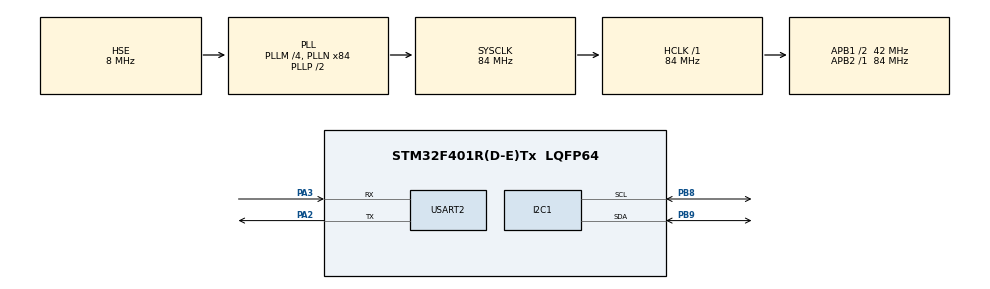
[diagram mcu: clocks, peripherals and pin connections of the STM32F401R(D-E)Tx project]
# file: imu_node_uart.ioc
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FREERTOS.Tasks01=defaultTask,0,128,StartDefaultTask,Default,NULL,Dynamic,NULL,NULL
I2C1.I2C_Mode=I2C_Fast
Mcu.Family=STM32F4
Mcu.Name=STM32F401R(D-E)Tx
Mcu.Package=LQFP64
NVIC.PriorityGroup=NVIC_PRIORITYGROUP_4
NVIC.TIM1_UP_TIM10_IRQn=true\:15\:0\:false\:false\:true\:false\:false\:true\:true
NVIC.TimeBase=TIM1_UP_TIM10_IRQn
NVIC.TimeBaseIP=TIM1
PA2.Mode=Asynchronous
PA2.Signal=USART2_TX
PA3.Mode=Asynchronous
PA3.Signal=USART2_RX
PB8.Mode=I2C
PB8.Signal=I2C1_SCL
PB9.Mode=I2C
PB9.Signal=I2C1_SDA
PC14-OSC32_IN.Mode=LSE-External-Oscillator
PC14-OSC32_IN.Signal=RCC_OSC32_IN
PC15-OSC32_OUT.Mode=LSE-External-Oscillator
PC15-OSC32_OUT.Signal=RCC_OSC32_OUT
PH0\ -\ OSC_IN.Mode=HSE-External-Oscillator
PH0\ -\ OSC_IN.Signal=RCC_OSC_IN
PH1\ -\ OSC_OUT.Mode=HSE-External-Oscillator
PH1\ -\ OSC_OUT.Signal=RCC_OSC_OUT
ProjectManager.HeapSize=0x200
ProjectManager.StackSize=0x400
ProjectManager.TargetToolchain=STM32CubeIDE
RCC.48MHZClocksFreq_Value=42000000
RCC.AHBFreq_Value=84000000
RCC.APB1CLKDivider=RCC_HCLK_DIV2
RCC.APB1Freq_Value=42000000
RCC.APB1TimFreq_Value=84000000
RCC.APB2Freq_Value=84000000
RCC.APB2TimFreq_Value=84000000
RCC.CortexFreq_Value=84000000
RCC.HCLKFreq_Value=84000000
RCC.HSE_VALUE=8000000
RCC.HSI_VALUE=16000000
RCC.PLLM=4
RCC.PLLN=84
RCC.PLLSourceVirtual=RCC_PLLSOURCE_HSE
RCC.SYSCLKFreq_VALUE=84000000
RCC.SYSCLKSource=RCC_SYSCLKSOURCE_PLLCLK
RCC.VCOOutputFreq_Value=168000000
USART2.VirtualMode=VM_ASYNC
VP_FREERTOS_VS_CMSIS_V1.Mode=CMSIS_V1
VP_SYS_VS_tim1.Mode=TIM1
board=custom

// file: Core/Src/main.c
/* USER CODE BEGIN Header */
/**
  ******************************************************************************
  * @file           : main.c
  * @brief          : Main program body
  ******************************************************************************
  * @attention
  *
  * Copyright (c) 2026 STMicroelectronics.
  * All rights reserved.
  *
  * This software is licensed under terms that can be found in the LICENSE file
  * in the root directory of this software component.
  * If no LICENSE file comes with this software, it is provided AS-IS.
  *
  ******************************************************************************
  */
/* USER CODE END Header */
#include "main.h"
#include <stdio.h>
/* USER CODE BEGIN Includes */
#include "lsm6ds33.h"
#include "FreeRTOS.h"
#include "task.h"
#include "timers.h"
#include "queue.h"
#include "semphr.h"
#include "event_groups.h"
/* USER CODE END Includes */

I2C_HandleTypeDef hi2c1;

UART_HandleTypeDef huart2;

/* USER CODE BEGIN PV */
QueueHandle_t imuQueueHandle;

typedef struct {
	uint32_t	timestamp_ms;
	float		ax, ay, az;
	float		gx, gy, gz;
} imu_packet_t;

int __io_putchar(int ch){

	HAL_UART_Transmit(&huart2, (uint8_t *) &ch, 1, HAL_MAX_DELAY);
	return ch;
}
/* USER CODE END PV */

void SystemClock_Config(void);
static void MX_GPIO_Init(void);
static void MX_I2C1_Init(void);
static void MX_USART2_UART_Init(void);

void imu_task(void * pvParameters);
void wifi_task(void *pvParameters);

int main(void)
{

  /* MCU Configuration--------------------------------------------------------*/

  /* Reset of all peripherals, Initializes the Flash interface and the Systick. */
  HAL_Init();

  /* Configure the system clock */
  SystemClock_Config();

  /* Initialize all configured peripherals */
  MX_GPIO_Init();
  MX_I2C1_Init();
  MX_USART2_UART_Init();

  /* USER CODE BEGIN RTOS_QUEUES */
  imuQueueHandle = xQueueCreate(1, sizeof(imu_packet_t));
  /* USER CODE END RTOS_QUEUES */

  /* Create the thread(s) */
  xTaskCreate(imu_task, "vIMUTask", 512, NULL, 2, NULL );
  xTaskCreate(wifi_task, "vWifiTask", 1024, NULL, 1, NULL); // more stack size for WiFi driver

  /* Start scheduler */
  vTaskStartScheduler();

  /* We should never get here as control is now taken by the scheduler */

  /* Infinite loop */
  while (1)
  {
	  __WFI();
  }
}
void imu_task(void * pvParameters)
{
	LSM6DS33_Data imu;
    imu_packet_t pkt;

	if(LSM6DS33_Init(&hi2c1) != LSM6DS33_OK){
		printf("Error: IMU init failed\r\n");
		vTaskDelete(NULL);
	}

	for( ;; )
	 {
		 if(LSM6DS33_ReadData(&hi2c1, &imu) == LSM6DS33_OK){
			 pkt.timestamp_ms	= HAL_GetTick();
			 pkt.ax = imu.ax; pkt.ay = imu.ay; pkt.az = imu.az;
			 pkt.gx = imu.gx; pkt.gy = imu.gy; pkt.gz = imu.gz;

			 xQueueOverwrite(imuQueueHandle, &pkt);
		 }

	        vTaskDelay(pdMS_TO_TICKS(20));  /* 50 Hz */
	 }
}
void wifi_task(void *pvParameters)
{
    imu_packet_t pkt;
    // TODO WiFi connect logic Wifi init, wifi connect, socket ..

    for (;;) {
        if (xQueueReceive(imuQueueHandle, &pkt, portMAX_DELAY) == pdPASS) {
//            WIFI_SendData(socket_id, (uint8_t*)&pkt, sizeof(pkt), &sent_len, timeout); // TODO choose the right data format
        }
    }
}
void SystemClock_Config(void)
{
  RCC_OscInitTypeDef RCC_OscInitStruct = {0};
  RCC_ClkInitTypeDef RCC_ClkInitStruct = {0};

  /** Configure the main internal regulator output voltage
  */
  __HAL_RCC_PWR_CLK_ENABLE();
  __HAL_PWR_VOLTAGESCALING_CONFIG(PWR_REGULATOR_VOLTAGE_SCALE2);

  /** Initializes the RCC Oscillators according to the specified parameters
  * in the RCC_OscInitTypeDef structure.
  */
  RCC_OscInitStruct.OscillatorType = RCC_OSCILLATORTYPE_HSE;
  RCC_OscInitStruct.HSEState = RCC_HSE_ON;
  RCC_OscInitStruct.PLL.PLLState = RCC_PLL_ON;
  RCC_OscInitStruct.PLL.PLLSource = RCC_PLLSOURCE_HSE;
  RCC_OscInitStruct.PLL.PLLM = 4;
  RCC_OscInitStruct.PLL.PLLN = 84;
  RCC_OscInitStruct.PLL.PLLP = RCC_PLLP_DIV2;
  RCC_OscInitStruct.PLL.PLLQ = 4;
  if (HAL_RCC_OscConfig(&RCC_OscInitStruct) != HAL_OK)
  {
    Error_Handler();
  }

  /** Initializes the CPU, AHB and APB buses clocks
  */
  RCC_ClkInitStruct.ClockType = RCC_CLOCKTYPE_HCLK|RCC_CLOCKTYPE_SYSCLK
                              |RCC_CLOCKTYPE_PCLK1|RCC_CLOCKTYPE_PCLK2;
  RCC_ClkInitStruct.SYSCLKSource = RCC_SYSCLKSOURCE_PLLCLK;
  RCC_ClkInitStruct.AHBCLKDivider = RCC_SYSCLK_DIV1;
  RCC_ClkInitStruct.APB1CLKDivider = RCC_HCLK_DIV2;
  RCC_ClkInitStruct.APB2CLKDivider = RCC_HCLK_DIV1;

  if (HAL_RCC_ClockConfig(&RCC_ClkInitStruct, FLASH_LATENCY_2) != HAL_OK)
  {
    Error_Handler();
  }
}

static void MX_I2C1_Init(void)
{

  hi2c1.Instance = I2C1;
  hi2c1.Init.ClockSpeed = 400000;
  hi2c1.Init.DutyCycle = I2C_DUTYCYCLE_2;
  hi2c1.Init.OwnAddress1 = 0;
  hi2c1.Init.AddressingMode = I2C_ADDRESSINGMODE_7BIT;
  hi2c1.Init.DualAddressMode = I2C_DUALADDRESS_DISABLE;
  hi2c1.Init.OwnAddress2 = 0;
  hi2c1.Init.GeneralCallMode = I2C_GENERALCALL_DISABLE;
  hi2c1.Init.NoStretchMode = I2C_NOSTRETCH_DISABLE;
  if (HAL_I2C_Init(&hi2c1) != HAL_OK)
  {
    Error_Handler();
  }

}

static void MX_USART2_UART_Init(void)
{

  huart2.Instance = USART2;
  huart2.Init.BaudRate = 115200;
  huart2.Init.WordLength = UART_WORDLENGTH_8B;
  huart2.Init.StopBits = UART_STOPBITS_1;
  huart2.Init.Parity = UART_PARITY_NONE;
  huart2.Init.Mode = UART_MODE_TX_RX;
  huart2.Init.HwFlowCtl = UART_HWCONTROL_NONE;
  huart2.Init.OverSampling = UART_OVERSAMPLING_16;
  if (HAL_UART_Init(&huart2) != HAL_OK)
  {
    Error_Handler();
  }

}

static void MX_GPIO_Init(void)
{

  /* GPIO Ports Clock Enable */
  __HAL_RCC_GPIOC_CLK_ENABLE();
  __HAL_RCC_GPIOH_CLK_ENABLE();
  __HAL_RCC_GPIOA_CLK_ENABLE();
  __HAL_RCC_GPIOB_CLK_ENABLE();

  /* USER CODE BEGIN MX_GPIO_Init_2 */
//  GPIO_InitTypeDef GPIO_InitStruct = {0};

  //temp test with internal Pull-ups on PB8 (SCL) and PB9 (SDA)
  // external Pull-ups 4.7 k not tested
//  GPIO_InitStruct.Pin   = GPIO_PIN_8 | GPIO_PIN_9;
//  GPIO_InitStruct.Mode  = GPIO_MODE_AF_OD;
//  GPIO_InitStruct.Pull  = GPIO_PULLUP;
//  GPIO_InitStruct.Speed = GPIO_SPEED_FREQ_VERY_HIGH;
//  GPIO_InitStruct.Alternate = GPIO_AF4_I2C1;
//  HAL_GPIO_Init(GPIOB, &GPIO_InitStruct);
  /* USER CODE END MX_GPIO_Init_2 */
}

void HAL_TIM_PeriodElapsedCallback(TIM_HandleTypeDef *htim)
{
  if (htim->Instance == TIM1)
  {
    HAL_IncTick();
  }
}

void Error_Handler(void)
{
  __disable_irq();
  while (1)
  {
  }
}
